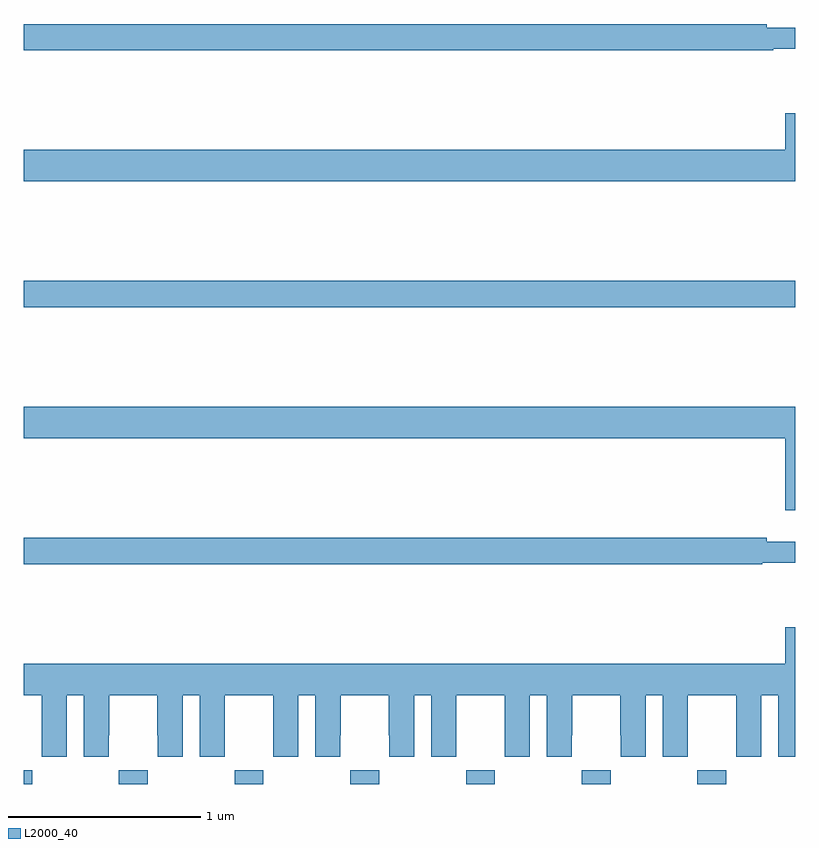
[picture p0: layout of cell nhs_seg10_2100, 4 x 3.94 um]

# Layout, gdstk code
import gdstk
lib = gdstk.Library(unit=1e-6, precision=1e-09)
def R(c, l, rs):  # rectangles x0, y0, x1, y1
    for r in rs: c.add(gdstk.rectangle(r[:2], r[2:], *l))
def A(c, l, x, y, w, h, nx, ny, dx, dy):  # array of equal rectangles
    R(c, l, [(x+i*dx, y+j*dy, x+i*dx+w, y+j*dy+h) for i in range(nx) for j in range(ny)])
def P(c, l, *ps):  # polygons
    for p in ps: c.add(gdstk.Polygon(p, *l))
L2000_40 = (2000, 40)

nhs_seg10_2100 = lib.new_cell('nhs_seg10_2100')
A(nhs_seg10_2100, L2000_40, 221.493, 1322.5, 0.15, 0.072, 6, 1, 0.6, 0)
R(nhs_seg10_2100, L2000_40, [(221,1322.5,221.043,1322.572), (221,1324.972,225,1325.108)])
P(nhs_seg10_2100, L2000_40, [(224.885,1326.312),(225,1326.312),(225,1326.421),(224.852,1326.421),(224.852,1326.44),(221,1326.44),(221,1326.304),(224.885,1326.304)],
  [(225,1325.977),(224.948,1325.977),(224.948,1325.788),(221,1325.788),(221,1325.624),(225,1325.624)],
  [(225,1324.456),(221,1324.456),(221,1324.292),(224.948,1324.292),(224.948,1323.918),(225,1323.918)],
  [(224.83,1323.648),(225,1323.648),(225,1323.757),(224.852,1323.757),(224.852,1323.776),(221,1323.776),(221,1323.64),(224.83,1323.64)],
  [(221,1322.96),(221.093,1322.96),(221.093,1322.752),(221.094,1322.752),(221.094,1322.64),(221.224,1322.64),(221.224,1322.96),(221.312,1322.96),(221.312,1322.64),(221.442,1322.64),(221.442,1322.752),(221.443,1322.752),(221.443,1322.96),(221.693,1322.96),(221.693,1322.752),(221.694,1322.752),(221.694,1322.64),(221.824,1322.64),(221.824,1322.96),(221.912,1322.96),(221.912,1322.64),(222.042,1322.64),(222.042,1322.752),(222.043,1322.752),(222.043,1322.96),(222.293,1322.96),(222.293,1322.752),(222.294,1322.752),(222.294,1322.64),(222.424,1322.64),(222.424,1322.96),(222.512,1322.96),(222.512,1322.64),(222.642,1322.64),(222.642,1322.752),(222.643,1322.752),(222.643,1322.96),(222.893,1322.96),(222.893,1322.752),(222.894,1322.752),(222.894,1322.64),(223.024,1322.64),(223.024,1322.96),(223.112,1322.96),(223.112,1322.64),(223.242,1322.64),(223.242,1322.752),(223.243,1322.752),(223.243,1322.96),(223.493,1322.96),(223.493,1322.752),(223.494,1322.752),(223.494,1322.64),(223.624,1322.64),(223.624,1322.96),(223.712,1322.96),(223.712,1322.64),(223.842,1322.64),(223.842,1322.752),(223.843,1322.752),(223.843,1322.96),(224.093,1322.96),(224.093,1322.752),(224.094,1322.752),(224.094,1322.64),(224.224,1322.64),(224.224,1322.96),(224.312,1322.96),(224.312,1322.64),(224.442,1322.64),(224.442,1322.752),(224.443,1322.752),(224.443,1322.96),(224.693,1322.96),(224.693,1322.752),(224.694,1322.752),(224.694,1322.64),(224.824,1322.64),(224.824,1322.96),(224.912,1322.96),(224.912,1322.64),(225,1322.64),(225,1323.313),(224.948,1323.313),(224.948,1323.124),(221,1323.124)])

lib.write_gds('nhs_seg10_2100.gds')
